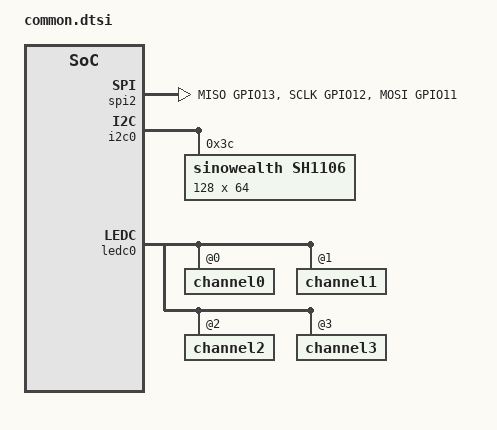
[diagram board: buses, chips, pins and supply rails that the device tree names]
#include <zephyr/dt-bindings/gpio/gpio.h>
#include <zephyr/dt-bindings/pwm/pwm.h>
#include <zephyr/dt-bindings/pinctrl/esp-pinctrl-common.h>
#include <dt-bindings/pinctrl/esp32s3-pinctrl.h>
#include <zephyr/dt-bindings/pinctrl/esp32s3-gpio-sigmap.h>

/* N16R8 exposes GPIO0-21 and GPIO38-48; reserve pads not available as GPIO. */
&gpio0 {
    gpio-reserved-ranges = <22 10>;
};
&gpio1 {
    gpio-reserved-ranges = <0 6>, <17 5>;
};

/* The module has 8 MB OPI PSRAM, but the application does not need external RAM. */
&flash0 {
    reg = <0x0 0x01000000>;
};
&psram0 {
    size = <0x00800000>;
    status = "disabled";
};

&spi2 {
    status = "okay";
    pinctrl-0 = <&spi2_reserved_pins>;
    pinctrl-names = "default";
    cs-gpios = <&gpio0 10 GPIO_ACTIVE_LOW>;
    #address-cells = <1>;
    #size-cells = <0>;
};
&spi3 { status = "disabled"; };
&esp32_bt_hci { status = "disabled"; };

/ {
    chosen {
        zephyr,display = &sh1106;
    };

    /* Provisional active-low IRQ placeholder; confirm polarity for the future SPI peripheral. */
    spi_device_irq: spi-device-irq {
        gpios = <&gpio0 14 GPIO_ACTIVE_LOW>;
    };
};

&i2c0 {
    status = "okay";

    sh1106: sh1106@3c {
        compatible = "sinowealth,sh1106";
        reg = <0x3c>;
        width = <128>;
        height = <64>;
        segment-offset = <2>;
        page-offset = <0>;
        display-offset = <0>;
        multiplex-ratio = <63>;
        segment-remap;
        com-invdir;
        prechargep = <0x22>;
    };
};

&pinctrl {
    spi2_reserved_pins: spi2_reserved_pins {
        group1 {
            pinmux = <SPIM2_MISO_GPIO13>,
                     <SPIM2_SCLK_GPIO12>;
        };
        group2 {
            pinmux = <SPIM2_MOSI_GPIO11>;
            output-low;
        };
        group3 {
            pinmux = <ESP32_PINMUX(10, ESP_NOSIG, ESP_NOSIG)>;
            output-high;
        };
        group4 {
            pinmux = <ESP32_PINMUX(14, ESP_NOSIG, ESP_NOSIG)>;
            input-enable;
        };
    };
};

/ {
    valves {
        valve1: valve1 {
            compatible = "valve-controller";
            open-limit-gpios = <&gpio1 7 GPIO_ACTIVE_LOW>;
            closed-limit-gpios = <&gpio1 8 GPIO_ACTIVE_LOW>;
        };
        valve2: valve2 {
            compatible = "valve-controller";
            open-limit-gpios = <&gpio1 9 GPIO_ACTIVE_LOW>;
            closed-limit-gpios = <&gpio1 10 GPIO_ACTIVE_LOW>;
        };
        valve3: valve3 {
            compatible = "valve-controller";
            open-limit-gpios = <&gpio1 15 GPIO_ACTIVE_LOW>;
            closed-limit-gpios = <&gpio1 16 GPIO_ACTIVE_LOW>;
        };
        valve4: valve4 {
            compatible = "valve-controller";
            open-limit-gpios = <&gpio0 21 GPIO_ACTIVE_LOW>;
            closed-limit-gpios = <&gpio1 6 GPIO_ACTIVE_LOW>;
        };
    };
};

&ledc0 {
    status = "okay";
    #address-cells = <1>;
    #size-cells = <0>;
    channel0@0 { reg = <0>; timer = <0>; };
    channel1@1 { reg = <1>; timer = <0>; };
    channel2@2 { reg = <2>; timer = <0>; };
    channel3@3 { reg = <3>; timer = <0>; };
};
